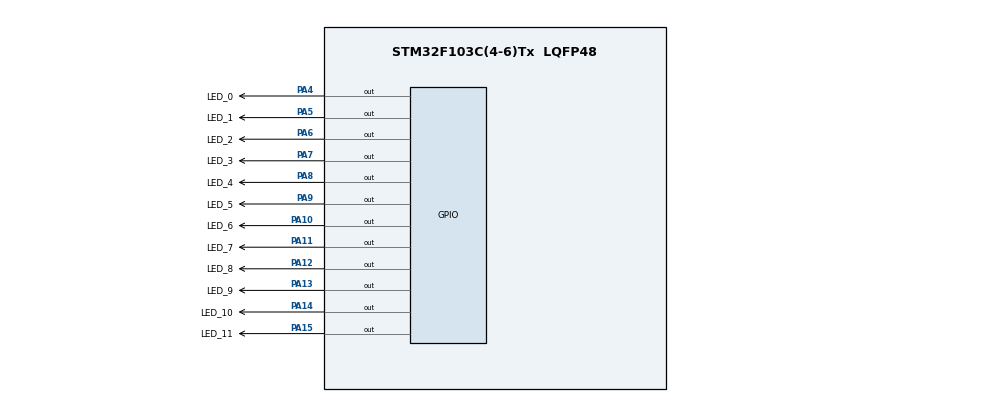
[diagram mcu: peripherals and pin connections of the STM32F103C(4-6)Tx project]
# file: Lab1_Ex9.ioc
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Mcu.Family=STM32F1
Mcu.Name=STM32F103C(4-6)Tx
Mcu.Package=LQFP48
NVIC.PriorityGroup=NVIC_PRIORITYGROUP_4
PA10.GPIO_Label=LED_6
PA10.Signal=GPIO_Output
PA11.GPIO_Label=LED_7
PA11.Signal=GPIO_Output
PA12.GPIO_Label=LED_8
PA12.Signal=GPIO_Output
PA13.GPIO_Label=LED_9
PA13.Signal=GPIO_Output
PA14.GPIO_Label=LED_10
PA14.Signal=GPIO_Output
PA15.GPIO_Label=LED_11
PA15.Signal=GPIO_Output
PA4.GPIO_Label=LED_0
PA4.Signal=GPIO_Output
PA5.GPIO_Label=LED_1
PA5.Signal=GPIO_Output
PA6.GPIO_Label=LED_2
PA6.Signal=GPIO_Output
PA7.GPIO_Label=LED_3
PA7.Signal=GPIO_Output
PA8.GPIO_Label=LED_4
PA8.Signal=GPIO_Output
PA9.GPIO_Label=LED_5
PA9.Signal=GPIO_Output
ProjectManager.HeapSize=0x200
ProjectManager.StackSize=0x400
ProjectManager.TargetToolchain=STM32CubeIDE
RCC.APB1Freq_Value=8000000
RCC.APB2Freq_Value=8000000
VP_SYS_VS_ND.Mode=No_Debug
board=custom

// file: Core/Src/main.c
/* USER CODE BEGIN Header */
/**
  ******************************************************************************
  * @file           : main.c
  * @brief          : Main program body
  ******************************************************************************
  * @attention
  *
  * <h2><center>&copy; Copyright (c) 2022 STMicroelectronics.
  * All rights reserved.</center></h2>
  *
  * This software component is licensed by ST under BSD 3-Clause license,
  * the "License"; You may not use this file except in compliance with the
  * License. You may obtain a copy of the License at:
  *                        opensource.org/licenses/BSD-3-Clause
  *
  ******************************************************************************
  */
/* USER CODE END Header */
#include "main.h"

void SystemClock_Config(void);
static void MX_GPIO_Init(void);

int main(void)
{

  /* MCU Configuration--------------------------------------------------------*/

  /* Reset of all peripherals, Initializes the Flash interface and the Systick. */
  HAL_Init();

  /* Configure the system clock */
  SystemClock_Config();

  /* Initialize all configured peripherals */
  MX_GPIO_Init();

  /* Infinite loop */
  /* USER CODE BEGIN WHILE */
  /* Chuong trinh sang lan luot cac den cung chieu kim dong ho */
  int count = 0;  /* Khoi tao bien "count" co gia tri ban dau bang 0 */
  clearAllClock(); /* Ban dau tat tat ca cac den */
  while (1)
  {
    /* USER CODE END WHILE */
    /* USER CODE BEGIN 3 */
	  /* Thiet lap de tat den thu "count" */
	  clearNumberOnClock(count++);
	  /* Neu sau khi den 0 sang, thi giay tiep theo ta se thiet lap cho den 11 sang tro lai */
	  	  if (count > 11) {
	  		  count = 0;
	  	  }
	  /* Bat den o trang thai moi */
	  setNumberOnClock(count);
	  HAL_Delay(1000);
  }
  /* USER CODE END 3 */
}

void SystemClock_Config(void)
{
  RCC_OscInitTypeDef RCC_OscInitStruct = {0};
  RCC_ClkInitTypeDef RCC_ClkInitStruct = {0};

  /** Initializes the RCC Oscillators according to the specified parameters
  * in the RCC_OscInitTypeDef structure.
  */
  RCC_OscInitStruct.OscillatorType = RCC_OSCILLATORTYPE_HSI;
  RCC_OscInitStruct.HSIState = RCC_HSI_ON;
  RCC_OscInitStruct.HSICalibrationValue = RCC_HSICALIBRATION_DEFAULT;
  RCC_OscInitStruct.PLL.PLLState = RCC_PLL_NONE;
  if (HAL_RCC_OscConfig(&RCC_OscInitStruct) != HAL_OK)
  {
    Error_Handler();
  }
  /** Initializes the CPU, AHB and APB buses clocks
  */
  RCC_ClkInitStruct.ClockType = RCC_CLOCKTYPE_HCLK|RCC_CLOCKTYPE_SYSCLK
                              |RCC_CLOCKTYPE_PCLK1|RCC_CLOCKTYPE_PCLK2;
  RCC_ClkInitStruct.SYSCLKSource = RCC_SYSCLKSOURCE_HSI;
  RCC_ClkInitStruct.AHBCLKDivider = RCC_SYSCLK_DIV1;
  RCC_ClkInitStruct.APB1CLKDivider = RCC_HCLK_DIV1;
  RCC_ClkInitStruct.APB2CLKDivider = RCC_HCLK_DIV1;

  if (HAL_RCC_ClockConfig(&RCC_ClkInitStruct, FLASH_LATENCY_0) != HAL_OK)
  {
    Error_Handler();
  }
}

static void MX_GPIO_Init(void)
{
  GPIO_InitTypeDef GPIO_InitStruct = {0};

  /* GPIO Ports Clock Enable */
  __HAL_RCC_GPIOA_CLK_ENABLE();

  /*Configure GPIO pin Output Level */
  HAL_GPIO_WritePin(GPIOA, LED_0_Pin|LED_1_Pin|LED_2_Pin|LED_3_Pin
                          |LED_4_Pin|LED_5_Pin|LED_6_Pin|LED_7_Pin
                          |LED_8_Pin|LED_9_Pin|LED_10_Pin|LED_11_Pin, GPIO_PIN_RESET);

  /*Configure GPIO pins : LED_0_Pin LED_1_Pin LED_2_Pin LED_3_Pin
                           LED_4_Pin LED_5_Pin LED_6_Pin LED_7_Pin
                           LED_8_Pin LED_9_Pin LED_10_Pin LED_11_Pin */
  GPIO_InitStruct.Pin = LED_0_Pin|LED_1_Pin|LED_2_Pin|LED_3_Pin
                          |LED_4_Pin|LED_5_Pin|LED_6_Pin|LED_7_Pin
                          |LED_8_Pin|LED_9_Pin|LED_10_Pin|LED_11_Pin;
  GPIO_InitStruct.Mode = GPIO_MODE_OUTPUT_PP;
  GPIO_InitStruct.Pull = GPIO_NOPULL;
  GPIO_InitStruct.Speed = GPIO_SPEED_FREQ_LOW;
  HAL_GPIO_Init(GPIOA, &GPIO_InitStruct);

}

/* USER CODE BEGIN 4 */
void clearAllClock() { /* Tat tat ca 12 bong den */
	HAL_GPIO_WritePin(LED_0_GPIO_Port , LED_0_Pin , GPIO_PIN_SET);
	HAL_GPIO_WritePin(LED_1_GPIO_Port , LED_1_Pin , GPIO_PIN_SET);
	HAL_GPIO_WritePin(LED_2_GPIO_Port , LED_2_Pin , GPIO_PIN_SET);
	HAL_GPIO_WritePin(LED_3_GPIO_Port , LED_3_Pin , GPIO_PIN_SET);
	HAL_GPIO_WritePin(LED_4_GPIO_Port , LED_4_Pin , GPIO_PIN_SET);
	HAL_GPIO_WritePin(LED_5_GPIO_Port , LED_5_Pin , GPIO_PIN_SET);
	HAL_GPIO_WritePin(LED_6_GPIO_Port , LED_6_Pin , GPIO_PIN_SET);
	HAL_GPIO_WritePin(LED_7_GPIO_Port , LED_7_Pin , GPIO_PIN_SET);
	HAL_GPIO_WritePin(LED_8_GPIO_Port , LED_8_Pin , GPIO_PIN_SET);
	HAL_GPIO_WritePin(LED_9_GPIO_Port , LED_9_Pin , GPIO_PIN_SET);
	HAL_GPIO_WritePin(LED_10_GPIO_Port , LED_10_Pin , GPIO_PIN_SET);
	HAL_GPIO_WritePin(LED_11_GPIO_Port , LED_11_Pin , GPIO_PIN_SET);
}

/* Ham setNumberOnClock dung de bat 1 den sang theo input cho truoc */
void setNumberOnClock(int num) {
	switch(num) { /* Dung lenh switch-case de xet cac truong hop co the xay ra cua LED thu "num" duoc sang len (0 <= num <= 11) */
	case 0:
		HAL_GPIO_WritePin(LED_0_GPIO_Port , LED_0_Pin , GPIO_PIN_RESET);
		break;
	case 1:
		HAL_GPIO_WritePin(LED_1_GPIO_Port , LED_1_Pin , GPIO_PIN_RESET);
		break;
	case 2:
		HAL_GPIO_WritePin(LED_2_GPIO_Port , LED_2_Pin , GPIO_PIN_RESET);
		break;
	case 3:
		HAL_GPIO_WritePin(LED_3_GPIO_Port , LED_3_Pin , GPIO_PIN_RESET);
		break;
	case 4:
		HAL_GPIO_WritePin(LED_4_GPIO_Port , LED_4_Pin , GPIO_PIN_RESET);
		break;
	case 5:
		HAL_GPIO_WritePin(LED_5_GPIO_Port , LED_5_Pin , GPIO_PIN_RESET);
		break;
	case 6:
		HAL_GPIO_WritePin(LED_6_GPIO_Port , LED_6_Pin , GPIO_PIN_RESET);
		break;
	case 7:
		HAL_GPIO_WritePin(LED_7_GPIO_Port , LED_7_Pin , GPIO_PIN_RESET);
		break;
	case 8:
		HAL_GPIO_WritePin(LED_8_GPIO_Port , LED_8_Pin , GPIO_PIN_RESET);
		break;
	case 9:
		HAL_GPIO_WritePin(LED_9_GPIO_Port , LED_9_Pin , GPIO_PIN_RESET);
		break;
	case 10:
		HAL_GPIO_WritePin(LED_10_GPIO_Port , LED_10_Pin , GPIO_PIN_RESET);
		break;
	case 11:
		HAL_GPIO_WritePin(LED_11_GPIO_Port , LED_11_Pin , GPIO_PIN_RESET);
		break;
	default:
		break;
	}
}

/* Ham clearNumberOnClock dung de tat 1 den sang theo input cho truoc */
void clearNumberOnClock(int num) {
	switch(num) { /* Dung lenh switch-case de xet cac truong hop co the xay ra cua LED thu "num" se tat di (0 <= num <= 11) */
		case 0:
			HAL_GPIO_WritePin(LED_0_GPIO_Port , LED_0_Pin , GPIO_PIN_SET);
			break;
		case 1:
			HAL_GPIO_WritePin(LED_1_GPIO_Port , LED_1_Pin , GPIO_PIN_SET);
			break;
		case 2:
			HAL_GPIO_WritePin(LED_2_GPIO_Port , LED_2_Pin , GPIO_PIN_SET);
			break;
		case 3:
			HAL_GPIO_WritePin(LED_3_GPIO_Port , LED_3_Pin , GPIO_PIN_SET);
			break;
		case 4:
			HAL_GPIO_WritePin(LED_4_GPIO_Port , LED_4_Pin , GPIO_PIN_SET);
			break;
		case 5:
			HAL_GPIO_WritePin(LED_5_GPIO_Port , LED_5_Pin , GPIO_PIN_SET);
			break;
		case 6:
			HAL_GPIO_WritePin(LED_6_GPIO_Port , LED_6_Pin , GPIO_PIN_SET);
			break;
		case 7:
			HAL_GPIO_WritePin(LED_7_GPIO_Port , LED_7_Pin , GPIO_PIN_SET);
			break;
		case 8:
			HAL_GPIO_WritePin(LED_8_GPIO_Port , LED_8_Pin , GPIO_PIN_SET);
			break;
		case 9:
			HAL_GPIO_WritePin(LED_9_GPIO_Port , LED_9_Pin , GPIO_PIN_SET);
			break;
		case 10:
			HAL_GPIO_WritePin(LED_10_GPIO_Port , LED_10_Pin , GPIO_PIN_SET);
			break;
		case 11:
			HAL_GPIO_WritePin(LED_11_GPIO_Port , LED_11_Pin , GPIO_PIN_SET);
			break;
		default:
			break;
		}
}
/* USER CODE END 4 */

void Error_Handler(void)
{
  __disable_irq();
  while (1)
  {
  }
}

/************************ (C) COPYRIGHT STMicroelectronics *****END OF FILE****/
